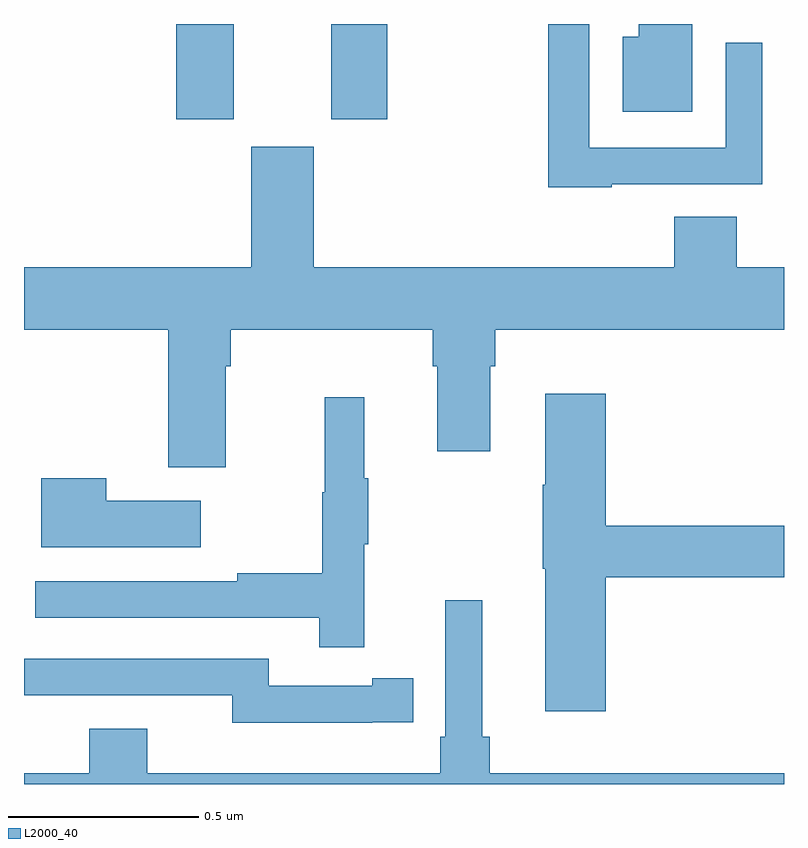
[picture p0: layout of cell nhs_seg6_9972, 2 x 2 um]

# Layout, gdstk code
import gdstk
lib = gdstk.Library(unit=1e-6, precision=1e-09)
def R(c, l, rs):  # rectangles x0, y0, x1, y1
    for r in rs: c.add(gdstk.rectangle(r[:2], r[2:], *l))
def P(c, l, *ps):  # polygons
    for p in ps: c.add(gdstk.Polygon(p, *l))
L2000_40 = (2000, 40)

nhs_seg6_9972 = lib.new_cell('nhs_seg6_9972')
R(nhs_seg6_9972, L2000_40, [(241.4,921.249,241.552,921.5), (241.808,921.249,241.956,921.5)])
P(nhs_seg6_9972, L2000_40, [(242.547,921.078),(242.943,921.078),(242.943,921.451),(242.847,921.451),(242.847,921.174),(242.487,921.174),(242.487,921.5),(242.379,921.5),(242.379,921.071),(242.547,921.071)],
  [(242.758,921.5),(242.618,921.5),(242.618,921.466),(242.576,921.466),(242.576,921.269),(242.758,921.269)],
  [(241.531,920.6),(241.544,920.6),(241.544,920.696),(242.075,920.696),(242.075,920.6),(242.087,920.6),(242.087,920.376),(242.227,920.376),(242.227,920.6),(242.24,920.6),(242.24,920.696),(243,920.696),(243,920.86),(242.876,920.86),(242.876,920.993),(242.711,920.993),(242.711,920.86),(241.762,920.86),(241.762,921.177),(241.598,921.177),(241.598,920.86),(241,920.86),(241,920.696),(241.379,920.696),(241.379,920.334),(241.531,920.334)],
  [(242.531,920.044),(243,920.044),(243,920.18),(242.531,920.18),(242.531,920.527),(242.372,920.527),(242.372,920.288),(242.365,920.288),(242.365,920.067),(242.372,920.067),(242.372,919.692),(242.531,919.692)],
  [(241.895,920.131),(241.906,920.131),(241.906,920.305),(241.895,920.305),(241.895,920.518),(241.792,920.518),(241.792,920.268),(241.785,920.268),(241.785,920.054),(241.561,920.054),(241.561,920.034),(241.029,920.034),(241.029,919.938),(241.777,919.938),(241.777,919.86),(241.895,919.86)],
  [(241.465,920.245),(241.217,920.245),(241.217,920.305),(241.046,920.305),(241.046,920.123),(241.465,920.123)],
  [(243,919.528),(242.225,919.528),(242.225,919.624),(242.206,919.624),(242.206,919.984),(242.109,919.984),(242.109,919.624),(242.096,919.624),(242.096,919.528),(241.324,919.528),(241.324,919.645),(241.172,919.645),(241.172,919.528),(241,919.528),(241,919.5),(243,919.5)],
  [(241.916,919.662),(242.024,919.662),(242.024,919.778),(241.916,919.778),(241.916,919.758),(241.644,919.758),(241.644,919.83),(241,919.83),(241,919.733),(241.088,919.733),(241.088,919.734),(241.548,919.734),(241.548,919.661),(241.916,919.661)])

lib.write_gds('nhs_seg6_9972.gds')
